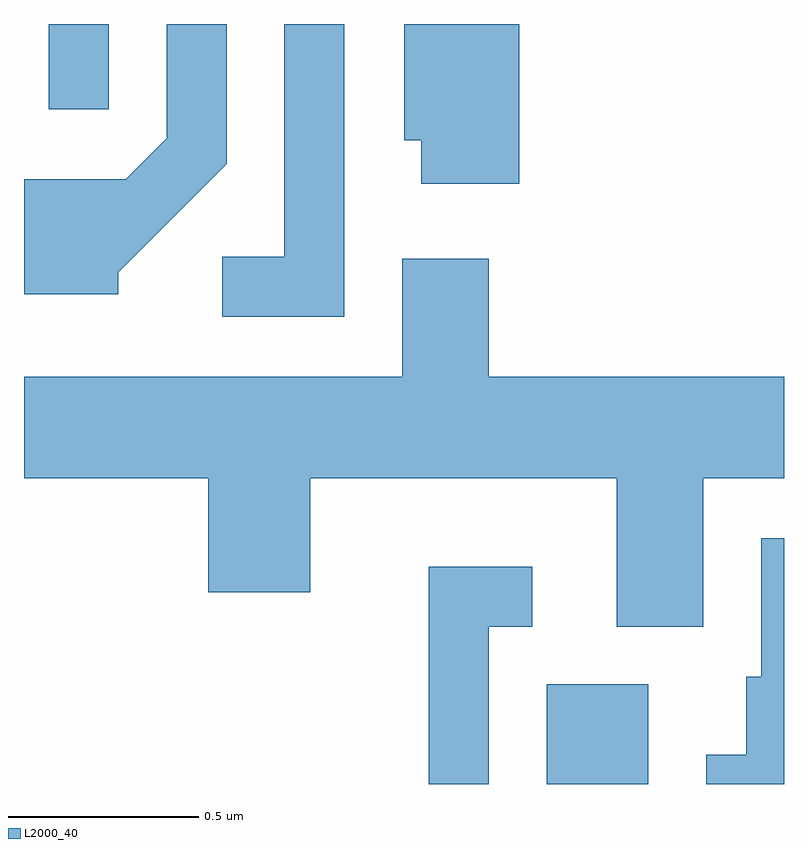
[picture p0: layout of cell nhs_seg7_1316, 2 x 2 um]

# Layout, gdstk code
import gdstk
lib = gdstk.Library(unit=1e-6, precision=1e-09)
def R(c, l, rs):  # rectangles x0, y0, x1, y1
    for r in rs: c.add(gdstk.rectangle(r[:2], r[2:], *l))
def P(c, l, *ps):  # polygons
    for p in ps: c.add(gdstk.Polygon(p, *l))
L2000_40 = (2000, 40)

nhs_seg7_1316 = lib.new_cell('nhs_seg7_1316')
R(nhs_seg7_1316, L2000_40, [(195.986,1751.252,196.254,1751.514), (194.676,1753.028,194.834,1753.252)])
P(nhs_seg7_1316, L2000_40, [(195.454,1753.252),(195.296,1753.252),(195.296,1752.639),(195.133,1752.639),(195.133,1752.481),(195.454,1752.481)],
  [(194.859,1752.599),(195.144,1752.884),(195.144,1753.252),(194.986,1753.252),(194.986,1752.952),(194.879,1752.844),(194.611,1752.844),(194.611,1752.541),(194.859,1752.541)],
  [(195.914,1753.252),(195.611,1753.252),(195.611,1752.946),(195.656,1752.946),(195.656,1752.831),(195.914,1752.831)],
  [(196.399,1752.056),(196.611,1752.056),(196.611,1752.324),(195.834,1752.324),(195.834,1752.634),(195.606,1752.634),(195.606,1752.324),(194.611,1752.324),(194.611,1752.056),(195.096,1752.056),(195.096,1751.756),(195.364,1751.756),(195.364,1752.056),(196.171,1752.056),(196.171,1751.666),(196.399,1751.666)],
  [(196.611,1751.899),(196.551,1751.899),(196.551,1751.534),(196.511,1751.534),(196.511,1751.329),(196.406,1751.329),(196.406,1751.252),(196.611,1751.252)],
  [(195.834,1751.666),(195.948,1751.666),(195.948,1751.824),(195.676,1751.824),(195.676,1751.252),(195.834,1751.252)])

lib.write_gds('nhs_seg7_1316.gds')
